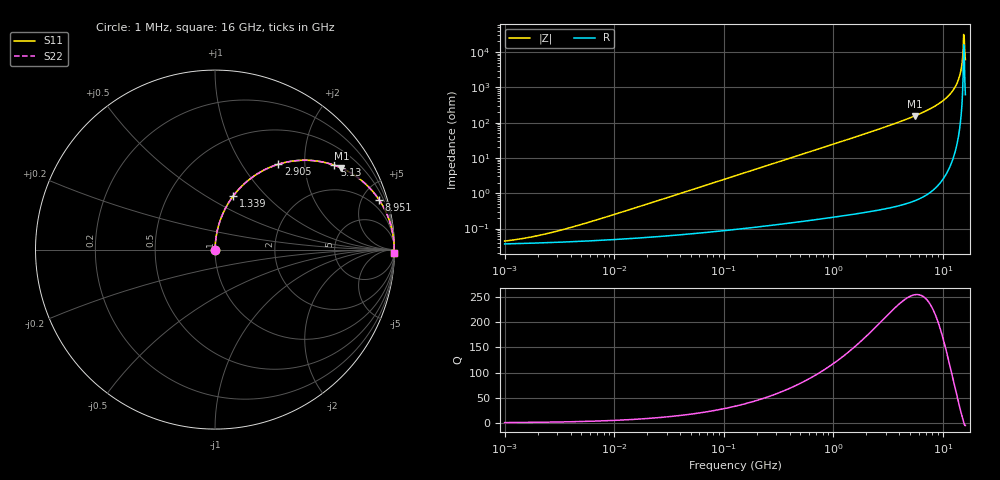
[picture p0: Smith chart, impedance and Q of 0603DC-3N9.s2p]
# MHz  S  MA  R  50
!Freq  MagS11  AngS11  MagS21  AngS21  MagS12  AngS12  MagS22  AngS22
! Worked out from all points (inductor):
!   801 points, 1 MHz to 16 GHz, reference 50 ohm
!   read as one part in series: L = 3.9 nH near 5.442 MHz
!   highest Q = 254 at 5.517 GHz (marker M1), where L = 4.46 nH
!   self-resonance near 15.43 GHz
!   S11 on the Smith chart (normalised r, x): 1 MHz: 1.00, +0.00; 1.339 GHz: 1.00, +0.66; 2.905 GHz: 1.01, +1.48; 5.13 GHz: 1.01, +2.82; 8.951 GHz: 1.03, +6.58; 16 GHz: open
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1  0.0004401 33.8  0.9996 -0.0  0.9996 -0.0  0.0004401 33.8
2.092012  0.0006443 52.7  0.9996 -0.0  0.9996 -0.0  0.0006443 52.7
5.060461  0.001314 70.6  0.9996 -0.1  0.9996 -0.1  0.001314 70.6
25.30026  0.006224 84.2  0.9994 -0.4  0.9994 -0.4  0.006224 84.2
128.031  0.03134 86.5  0.9986 -1.8  0.9986 -1.8  0.03134 86.5
640.1033  0.155 80.5  0.9862 -8.9  0.9862 -8.9  0.155 80.5
1339.104  0.3132 71.3  0.9474 -18.3  0.9474 -18.3  0.3132 71.3
1996.339  0.4444 63.3  0.8933 -26.4  0.8933 -26.4  0.4444 63.3
2904.985  0.5923 53.4  0.8029 -36.3  0.8029 -36.3  0.5923 53.4
3200.258  0.6322 50.5  0.7719 -39.2  0.7719 -39.2  0.6322 50.5
5130.219  0.8145 35.2  0.577 -54.5  0.577 -54.5  0.8145 35.2
5516.54  0.8384 32.8  0.5418 -57.0  0.5418 -57.0  0.8384 32.8
8951.025  0.9554 16.9  0.2905 -72.8  0.2905 -72.8  0.9554 16.9
11129.24  0.9832 10.1  0.1749 -79.5  0.1749 -79.5  0.9832 10.1
13025.14  0.9944 5.3  0.09183 -83.8  0.09183 -83.8  0.9944 5.3
13671.09  0.9963 3.8  0.06636 -84.9  0.06636 -84.9  0.9963 3.8
14176.48  0.9974 2.7  0.04727 -85.5  0.04727 -85.5  0.9974 2.7
14523.75  0.9979 2.0  0.03455 -85.5  0.03455 -85.5  0.9979 2.0
14879.53  0.9982 1.2  0.02186 -84.7  0.02186 -84.7  0.9982 1.2
15060.67  0.9983 0.9  0.01552 -83.3  0.01552 -83.3  0.9983 0.9
15617.43  0.9984 -0.2  0.003979 65.6  0.003979 65.6  0.9984 -0.2
16000  0.9982 -0.9  0.01643 83.2  0.01643 83.2  0.9982 -0.9
